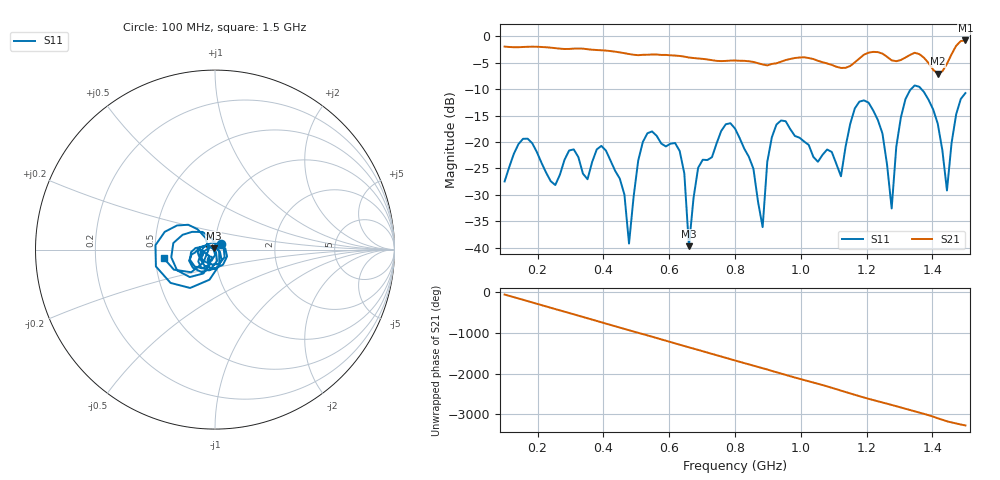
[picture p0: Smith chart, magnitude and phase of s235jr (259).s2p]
! NanoVNA-App
! Date: 2025-09-25 15:06:10
! Start: 100MHz Stop: 1,5GHz Points: 101
! S-Parameter data: F S11 S21 S12 S22
# Hz S RI R 50
!  Frequency  S11_Real  S11_Imag  S21_Real  S21_Imag  S12_Real  S12_Imag  S22_Real  S22_Imag
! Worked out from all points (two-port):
!   101 points, 100 MHz to 1.5 GHz, reference 50 ohm
!   highest |S21| = -0.80 dB at 1.5 GHz (marker M1); lowest = -7.1 dB at 1.416 GHz (marker M2)
!   |S21| within 3 dB of the highest: start of sweep to 639.6 MHz; 1.186 GHz to 1.26 GHz (74.03 MHz wide, 6.05 % of centre) (the widest 2 of 4)
!   lowest |S11| = -39.7 dB at 660 MHz (marker M3), VSWR 1.02, Z = 49.2 + j0.644 ohm
!   |S11| at or under -10 dB: start of sweep to 1.335 GHz; 1.366 GHz to end of sweep
!   S12 and S22 are empty: the file has one direction only
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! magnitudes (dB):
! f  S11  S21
! 100 MHz  -27.5  -2.0
! 156 MHz  -19.4  -2.0
! 338 MHz  -26.0  -2.4
! 408 MHz  -21.6  -2.7
! 478 MHz  -39.2  -3.4
! 520 MHz  -20.0  -3.5
! 576 MHz  -20.3  -3.5
! 632 MHz  -21.7  -3.7
! 660 MHz  -39.7  -4.0
! 688 MHz  -24.9  -4.2
! 800 MHz  -17.5  -4.6
! 884 MHz  -36.1  -5.3
! 926 MHz  -16.7  -5.1
! 1.038 GHz  -22.8  -4.3
! 1.122 GHz  -26.5  -6.0
! 1.206 GHz  -12.6  -3.1
! 1.248 GHz  -18.4  -3.3
! 1.276 GHz  -32.6  -4.6
! 1.332 GHz  -10.2  -3.5
! 1.416 GHz  -16.5  -7.1
! 1.444 GHz  -29.2  -5.2
! 1.5 GHz  -10.8  -0.8
